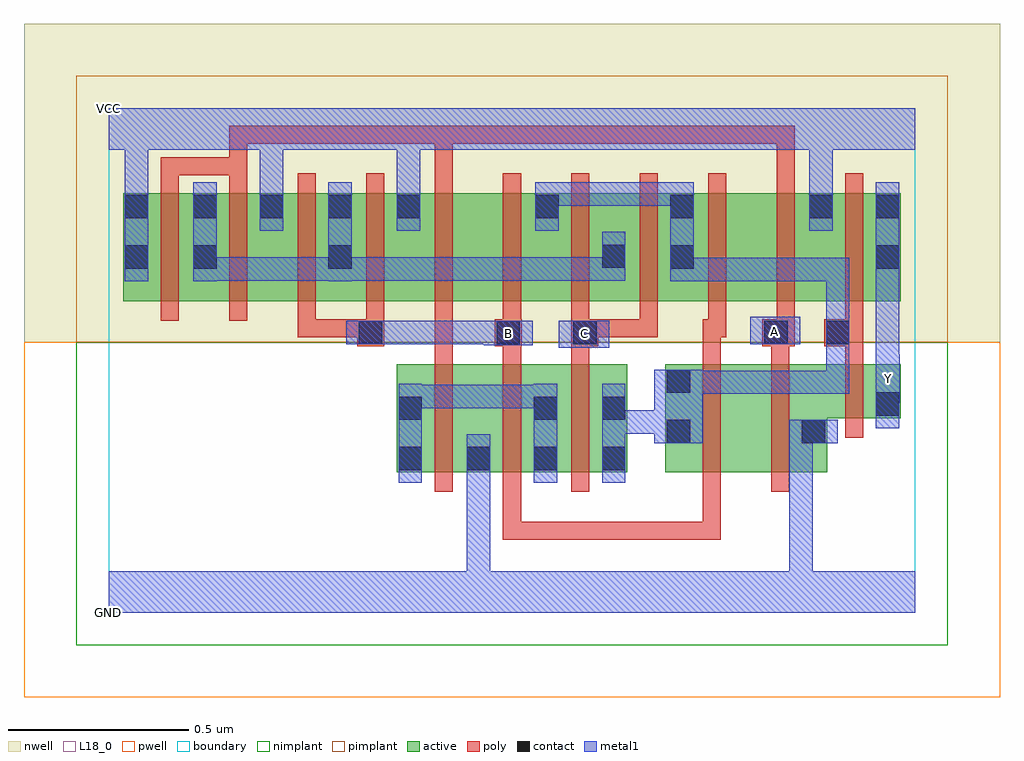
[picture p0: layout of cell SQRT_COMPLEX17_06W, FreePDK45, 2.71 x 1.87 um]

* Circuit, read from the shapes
.subckt SQRT_COMPLEX17_06W A B C GND VCC Y
M1 GND A n1 VSUBS nfet w=0.3u l=0.05u
M2 n1 B GND VSUBS nfet w=0.3u l=0.05u
M3 n2 C n1 VSUBS nfet w=0.3u l=0.05u
M4 n3 B n2 VSUBS nfet w=0.3u l=0.05u
M5 GND A n3 VSUBS nfet w=0.3u l=0.05u
M6 Y n2 GND VSUBS nfet w=0.15u l=0.05u
M7 n4 A VCC n5 pfet w=0.3u l=0.05u m=2
M8 n4 B VCC n5 pfet w=0.3u l=0.05u m=2
M9 n6 A VCC n5 pfet w=0.3u l=0.05u
M10 n2 B n6 n5 pfet w=0.3u l=0.05u
M11 n4 C n2 n5 pfet w=0.3u l=0.05u m=2
M12 n7 B n2 n5 pfet w=0.3u l=0.05u
M13 VCC A n7 n5 pfet w=0.3u l=0.05u
M14 Y n2 VCC n5 pfet w=0.3u l=0.05u
.ends

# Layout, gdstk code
import gdstk
lib = gdstk.Library(unit=1e-6, precision=1e-09)
def R(c, l, rs):  # rectangles x0, y0, x1, y1
    for r in rs: c.add(gdstk.rectangle(r[:2], r[2:], *l))
def A(c, l, x, y, w, h, nx, ny, dx, dy):  # array of equal rectangles
    R(c, l, [(x+i*dx, y+j*dy, x+i*dx+w, y+j*dy+h) for i in range(nx) for j in range(ny)])
active = (1, 0)
pwell = (2, 0)
nwell = (3, 0)
nimplant = (4, 0)
pimplant = (5, 0)
poly = (9, 0)
contact = (10, 0)
metal1 = (11, 0)
L18_0 = (18, 0)
boundary = (235, 0)

sqrt_complex17_06w = lib.new_cell('SQRT_COMPLEX17_06W')
A(sqrt_complex17_06w, active, 0.415, 0.882, 0.075, 0.283, 3, 1, 0.19, 0)
R(sqrt_complex17_06w, active, [(0.8,0.39,0.875,0.69), (0.8,0.39,1.065,0.69), (0.99,0.39,1.25,0.69), (0.99,0.39,1.065,0.572), (1.175,0.39,1.44,0.69), (1.175,0.39,1.25,0.605), (1.365,0.39,1.44,0.69), (1.545,0.39,1.77,0.69), (1.77,0.39,1.995,0.69), (1.92,0.39,1.995,0.617), (1.545,0.395,1.62,0.69), (1.92,0.54,2.2,0.69), (2.125,0.54,2.2,0.69), (0.04,0.865,0.115,1.165), (0.04,0.865,0.305,1.165), (0.23,0.865,0.49,1.165), (0.415,0.865,0.68,1.165), (0.605,0.865,0.87,1.165), (0.795,0.865,1.025,1.165), (1.025,0.865,1.255,1.165), (1.18,0.865,1.44,1.165), (1.365,0.865,1.63,1.165), (1.555,0.865,1.785,1.165), (1.785,0.865,2.015,1.165), (1.94,0.865,2.2,1.165), (2.125,0.865,2.2,1.165), (0.23,0.882,0.305,1.165), (1.18,0.882,1.255,1.165), (1.365,0.882,1.44,1.07), (1.555,0.882,1.63,1.165), (1.94,0.962,2.015,1.165)])
R(sqrt_complex17_06w, pwell, [(-0.235,-0.235,2.475,0.75)])
R(sqrt_complex17_06w, nwell, [(-0.235,0.75,2.475,1.635)])
R(sqrt_complex17_06w, nimplant, [(-0.09,-0.09,2.33,0.75)])
R(sqrt_complex17_06w, pimplant, [(-0.09,0.75,2.33,1.49)])
A(sqrt_complex17_06w, poly, 0.905, 0.335, 0.05, 0.41, 3, 1, 0.19, 0)
A(sqrt_complex17_06w, poly, 0.905, 0.695, 0.05, 0.095, 3, 1, 0.19, 0)
A(sqrt_complex17_06w, poly, 1.095, 0.765, 0.05, 0.095, 6, 1, 0.19, 0)
A(sqrt_complex17_06w, poly, 0.145, 0.81, 0.05, 0.41, 11, 1, 0.19, 0)
R(sqrt_complex17_06w, poly, [(1.095,0.202,1.145,0.252), (1.095,0.202,1.145,0.252), (1.095,0.202,1.145,0.252), (1.095,0.202,1.145,0.385), (1.095,0.202,1.392,0.252), (1.342,0.202,1.392,0.252), (1.342,0.202,1.567,0.252), (1.517,0.202,1.567,0.252), (1.517,0.202,1.567,0.252), (1.517,0.202,1.567,0.252), (1.517,0.202,1.7,0.252), (1.65,0.202,1.7,0.252), (1.65,0.202,1.7,0.252), (1.65,0.202,1.7,0.252), (1.65,0.202,1.7,0.385), (1.65,0.335,1.7,0.745), (1.84,0.335,1.89,0.745), (2.045,0.485,2.095,0.745), (1.65,0.695,1.7,0.815), (1.84,0.695,1.89,0.79), (2.045,0.695,2.095,0.79), (0.69,0.74,0.765,0.815), (0.905,0.74,0.955,0.79), (0.905,0.74,0.955,0.86), (1.072,0.74,1.147,0.815), (1.285,0.74,1.36,0.815), (1.815,0.74,1.905,0.815), (1.987,0.74,2.095,0.815), (0.525,0.765,0.575,0.86), (0.525,0.765,0.575,0.815), (0.525,0.765,0.575,0.815), (0.525,0.765,0.575,0.815), (0.525,0.765,0.74,0.815), (0.715,0.765,0.765,0.86), (1.31,0.765,1.36,0.815), (1.31,0.765,1.36,0.815), (1.31,0.765,1.525,0.815), (1.475,0.765,1.525,0.815), (1.65,0.765,1.715,0.815), (0.145,1.17,0.195,1.265), (0.335,1.17,0.385,1.265), (0.905,1.17,0.955,1.352), (1.855,1.17,1.905,1.352), (0.145,1.215,0.195,1.265), (0.145,1.215,0.195,1.265), (0.145,1.215,0.195,1.265), (0.145,1.215,0.385,1.265), (0.335,1.215,0.385,1.352), (0.335,1.302,0.385,1.352), (0.335,1.302,0.385,1.352), (0.335,1.302,0.607,1.352), (0.557,1.302,0.607,1.352), (0.557,1.302,0.607,1.352), (0.557,1.302,0.607,1.352), (0.557,1.302,0.822,1.352), (0.772,1.302,0.822,1.352), (0.772,1.302,0.822,1.352), (0.772,1.302,0.822,1.352), (0.772,1.302,0.955,1.352), (0.905,1.302,0.955,1.352), (0.905,1.302,0.955,1.352), (0.905,1.302,0.955,1.352), (0.905,1.302,1.202,1.352), (1.152,1.302,1.202,1.352), (1.152,1.302,1.202,1.352), (1.152,1.302,1.202,1.352), (1.152,1.302,1.335,1.352), (1.285,1.302,1.335,1.352), (1.285,1.302,1.335,1.352), (1.285,1.302,1.335,1.352), (1.285,1.302,1.525,1.352), (1.475,1.302,1.525,1.352), (1.475,1.302,1.7,1.352), (1.65,1.302,1.7,1.352), (1.65,1.302,1.7,1.352), (1.65,1.302,1.7,1.352), (1.65,1.302,1.905,1.352), (1.855,1.302,1.905,1.352), (1.855,1.302,1.905,1.352), (1.855,1.302,1.905,1.352)])
A(sqrt_complex17_06w, contact, 0.42, 1.095, 0.065, 0.065, 3, 1, 0.19, 0)
R(sqrt_complex17_06w, contact, [(0.805,0.395,0.87,0.46), (0.995,0.395,1.06,0.46), (1.18,0.395,1.245,0.46), (1.37,0.395,1.435,0.46), (1.55,0.47,1.615,0.535), (1.925,0.47,1.99,0.535), (0.805,0.535,0.87,0.6), (1.18,0.535,1.245,0.6), (1.37,0.535,1.435,0.6), (2.13,0.547,2.195,0.612), (1.55,0.61,1.615,0.675), (0.695,0.745,0.76,0.81), (1.077,0.745,1.142,0.81), (1.29,0.745,1.355,0.81), (1.82,0.745,1.885,0.81), (1.992,0.745,2.057,0.81), (0.045,0.955,0.11,1.02), (0.235,0.955,0.3,1.02), (0.61,0.955,0.675,1.02), (1.56,0.955,1.625,1.02), (2.13,0.955,2.195,1.02), (1.37,0.957,1.435,1.022), (0.045,1.095,0.11,1.16), (0.235,1.095,0.3,1.16), (1.185,1.095,1.25,1.16), (1.56,1.095,1.625,1.16), (1.945,1.095,2.01,1.16), (2.13,1.095,2.195,1.16)])
R(sqrt_complex17_06w, metal1, [(0,0,2.24,0.115), (0.995,0.05,1.06,0.115), (0.995,0.05,1.06,0.115), (0.995,0.05,1.06,0.425), (1.89,0.05,1.955,0.535), (0.805,0.36,0.87,0.635), (0.995,0.36,1.06,0.425), (0.995,0.36,1.06,0.425), (0.995,0.36,1.06,0.495), (1.18,0.36,1.245,0.635), (1.37,0.36,1.435,0.635), (1.515,0.47,1.65,0.675), (1.89,0.47,1.955,0.535), (1.89,0.47,1.955,0.535), (1.89,0.47,1.955,0.535), (1.89,0.47,1.955,0.535), (1.89,0.47,2.025,0.535), (1.37,0.497,1.435,0.562), (1.37,0.497,1.435,0.562), (1.37,0.497,1.58,0.562), (2.13,0.512,2.195,0.647), (0.805,0.567,0.932,0.632), (0.867,0.567,0.932,0.632), (0.867,0.567,1.07,0.632), (1.005,0.567,1.07,0.632), (1.005,0.567,1.07,0.632), (1.005,0.567,1.07,0.632), (1.005,0.567,1.245,0.632), (2.13,0.582,2.195,0.647), (2.13,0.582,2.197,0.717), (1.585,0.607,1.65,0.672), (1.585,0.607,1.65,0.672), (1.585,0.607,1.787,0.672), (1.722,0.607,1.787,0.672), (1.722,0.607,1.787,0.672), (1.722,0.607,1.787,0.672), (1.722,0.607,2.057,0.672), (1.992,0.607,2.057,0.672), (1.992,0.607,2.057,0.845), (2.13,0.652,2.195,0.985), (1.992,0.71,2.057,0.845), (1.25,0.735,1.39,0.81), (1.042,0.742,1.177,0.81), (0.66,0.745,0.795,0.81), (0.73,0.745,0.922,0.81), (0.857,0.745,0.922,0.81), (0.857,0.745,0.932,0.81), (0.867,0.745,0.932,0.81), (0.867,0.745,1.107,0.81), (1.042,0.745,1.107,0.81), (1.042,0.745,1.107,0.81), (1.782,0.745,1.92,0.822), (1.992,0.78,2.057,0.845), (1.992,0.78,2.057,0.845), (1.992,0.78,2.057,0.985), (0.045,0.92,0.11,1.195), (0.235,0.92,0.3,1.195), (0.61,0.92,0.675,1.195), (1.56,0.92,1.625,1.195), (1.56,0.92,1.625,0.985), (1.56,0.92,1.625,0.985), (1.56,0.92,1.625,0.985), (1.56,0.92,1.625,0.985), (1.56,0.92,1.817,0.985), (1.752,0.92,1.817,0.985), (1.752,0.92,1.817,0.985), (1.752,0.92,1.817,0.985), (1.752,0.92,2.057,0.985), (1.992,0.92,2.057,0.985), (2.13,0.92,2.195,1.195), (0.235,0.922,0.3,0.987), (0.235,0.922,0.3,0.987), (0.235,0.922,0.537,0.987), (0.472,0.922,0.537,0.987), (0.472,0.922,0.537,0.987), (0.472,0.922,0.537,0.987), (0.472,0.922,0.675,0.987), (0.61,0.922,0.675,0.987), (0.61,0.922,0.675,0.987), (0.61,0.922,0.855,0.987), (0.79,0.922,0.855,0.987), (0.79,0.922,0.932,0.987), (0.867,0.922,0.932,0.987), (0.867,0.922,1.107,0.987), (1.042,0.922,1.107,0.987), (1.042,0.922,1.107,0.987), (1.042,0.922,1.107,0.987), (1.042,0.922,1.297,0.987), (1.232,0.922,1.297,0.987), (1.232,0.922,1.297,0.987), (1.232,0.922,1.297,0.987), (1.232,0.922,1.435,0.987), (1.37,0.922,1.435,1.057), (0.42,1.06,0.485,1.195), (0.8,1.06,0.865,1.195), (1.185,1.06,1.25,1.195), (1.945,1.06,2.01,1.195), (0.045,1.13,0.11,1.195), (0.045,1.13,0.11,1.195), (0.045,1.13,0.11,1.35), (0.42,1.13,0.485,1.195), (0.42,1.13,0.485,1.195), (0.42,1.13,0.485,1.35), (0.8,1.13,0.865,1.35), (1.185,1.13,1.25,1.195), (1.185,1.13,1.25,1.195), (1.185,1.13,1.442,1.195), (1.377,1.13,1.442,1.195), (1.377,1.13,1.442,1.195), (1.377,1.13,1.442,1.195), (1.377,1.13,1.625,1.195), (1.945,1.13,2.01,1.195), (1.945,1.13,2.01,1.195), (1.945,1.13,2.01,1.35), (0,1.285,2.24,1.4), (0.8,1.285,0.865,1.35), (0.8,1.285,0.865,1.35)])
R(sqrt_complex17_06w, L18_0, [(0,0,2.24,0.115), (0.995,0.05,1.06,0.115), (0.995,0.05,1.06,0.115), (0.995,0.05,1.06,0.425), (1.89,0.05,1.955,0.535), (0.995,0.36,1.06,0.425), (0.995,0.36,1.06,0.425), (0.995,0.36,1.06,0.495), (1.89,0.47,1.955,0.535), (1.89,0.47,1.955,0.535), (1.89,0.47,1.955,0.535), (1.89,0.47,1.955,0.535), (1.89,0.47,2.025,0.535), (2.13,0.512,2.195,0.647), (2.13,0.582,2.195,0.647), (2.13,0.582,2.197,0.717), (2.132,0.617,2.197,0.682), (2.13,0.652,2.195,0.985), (1.25,0.735,1.39,0.81), (1.042,0.742,1.177,0.81), (1.077,0.742,1.142,0.807), (1.287,0.742,1.352,0.807), (0.66,0.745,0.795,0.81), (0.73,0.745,0.922,0.81), (0.857,0.745,0.922,0.81), (0.857,0.745,0.932,0.81), (0.867,0.745,0.932,0.81), (0.867,0.745,1.107,0.81), (1.042,0.745,1.107,0.81), (1.042,0.745,1.107,0.81), (1.782,0.745,1.92,0.822), (1.817,0.747,1.882,0.812), (0.045,0.92,0.11,1.195), (2.13,0.92,2.195,1.195), (0.42,1.06,0.485,1.195), (0.8,1.06,0.865,1.195), (1.945,1.06,2.01,1.195), (0.045,1.13,0.11,1.195), (0.045,1.13,0.11,1.195), (0.045,1.13,0.11,1.35), (0.42,1.13,0.485,1.195), (0.42,1.13,0.485,1.195), (0.42,1.13,0.485,1.35), (0.8,1.13,0.865,1.35), (1.945,1.13,2.01,1.195), (1.945,1.13,2.01,1.195), (1.945,1.13,2.01,1.35), (0,1.285,2.24,1.4), (0.8,1.285,0.865,1.35), (0.8,1.285,0.865,1.35)])
R(sqrt_complex17_06w, boundary, [(0,0,2.24,1.4)])
sqrt_complex17_06w.add(gdstk.Label('A', (1.85,0.78), layer=11, texttype=0))
sqrt_complex17_06w.add(gdstk.Label('B', (1.11,0.775), layer=11, texttype=0))
sqrt_complex17_06w.add(gdstk.Label('C', (1.32,0.775), layer=11, texttype=0))
sqrt_complex17_06w.add(gdstk.Label('Y', (2.165,0.65), layer=11, texttype=0))
sqrt_complex17_06w.add(gdstk.Label('VCC', (0,1.4), layer=11, texttype=0))
sqrt_complex17_06w.add(gdstk.Label('GND', (0,0), layer=11, texttype=0))

lib.write_gds('SQRT_COMPLEX17_06W.gds')
